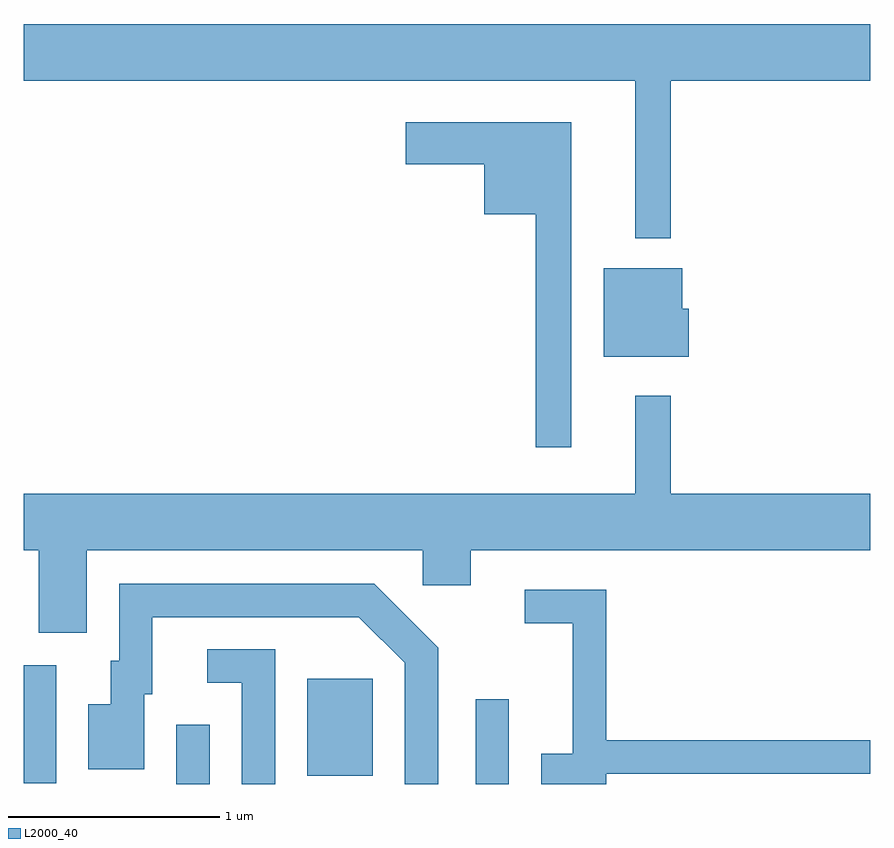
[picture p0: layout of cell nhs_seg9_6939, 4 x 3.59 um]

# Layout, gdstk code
import gdstk
lib = gdstk.Library(unit=1e-6, precision=1e-09)
def R(c, l, rs):  # rectangles x0, y0, x1, y1
    for r in rs: c.add(gdstk.rectangle(r[:2], r[2:], *l))
def P(c, l, *ps):  # polygons
    for p in ps: c.add(gdstk.Polygon(p, *l))
L2000_40 = (2000, 40)

nhs_seg9_6939 = lib.new_cell('nhs_seg9_6939')
R(nhs_seg9_6939, L2000_40, [(390.331,2048.432,390.489,2048.713), (391.746,2048.432,391.904,2048.833), (389.611,2048.436,389.764,2048.994), (390.951,2048.471,391.259,2048.929)])
P(nhs_seg9_6939, L2000_40, [(392.669,2051.756),(393.611,2051.756),(393.611,2052.024),(389.611,2052.024),(389.611,2051.756),(392.501,2051.756),(392.501,2051.012),(392.669,2051.012)],
  [(392.199,2051.559),(391.416,2051.559),(391.416,2051.361),(391.786,2051.361),(391.786,2051.126),(392.031,2051.126),(392.031,2050.023),(392.199,2050.023)],
  [(392.754,2050.679),(392.724,2050.679),(392.724,2050.869),(392.351,2050.869),(392.351,2050.451),(392.754,2050.451)],
  [(389.909,2049.536),(391.496,2049.536),(391.496,2049.371),(391.724,2049.371),(391.724,2049.536),(393.611,2049.536),(393.611,2049.804),(392.669,2049.804),(392.669,2050.268),(392.501,2050.268),(392.501,2049.804),(389.611,2049.804),(389.611,2049.536),(389.681,2049.536),(389.681,2049.146),(389.909,2049.146)],
  [(391.569,2049.077),(391.267,2049.379),(390.061,2049.379),(390.061,2049.014),(390.021,2049.014),(390.021,2048.809),(389.916,2048.809),(389.916,2048.501),(390.179,2048.501),(390.179,2048.856),(390.219,2048.856),(390.219,2049.221),(391.194,2049.221),(391.411,2049.004),(391.411,2048.432),(391.569,2048.432)],
  [(392.364,2048.481),(393.611,2048.481),(393.611,2048.639),(392.364,2048.639),(392.364,2049.349),(391.978,2049.349),(391.978,2049.191),(392.206,2049.191),(392.206,2048.574),(392.056,2048.574),(392.056,2048.432),(392.364,2048.432)],
  [(390.799,2049.069),(390.478,2049.069),(390.478,2048.911),(390.641,2048.911),(390.641,2048.432),(390.799,2048.432)])

lib.write_gds('nhs_seg9_6939.gds')
